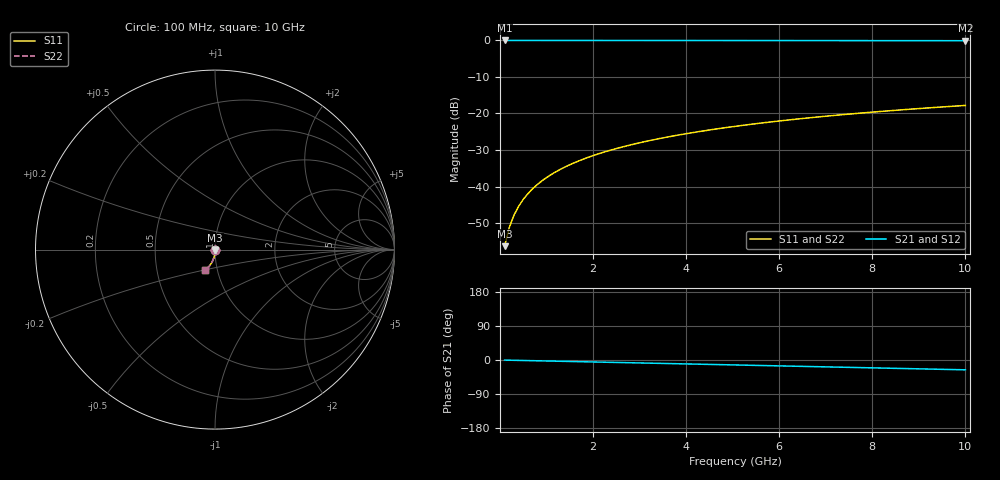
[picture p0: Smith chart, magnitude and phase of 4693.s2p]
# Hz S RI R 50.00
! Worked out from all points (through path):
!   100 points, 100 MHz to 10 GHz, reference 50 ohm
!   highest |S21| = -0.01 dB at 100 MHz (marker M1); lowest = -0.1 dB at 10 GHz (marker M2)
!   group delay of S21, straight-line fit = 7.21 ps
!   lowest |S11| = -56.3 dB at 100 MHz (marker M3), VSWR 1.00, Z = 50.1 - j0.133 ohm
!   |S11| at or under -10 dB: start of sweep to end of sweep
!   |S22| runs from -56.3 to -17.8 dB; largest |S21 - S12| = 0
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1e8  0.000757 -0.00133  0.9992 -0.0045  0.9992 -0.0045  0.000757 -0.00133
2e8  0.000742 -0.00265  0.9992 -0.009  0.9992 -0.009  0.000742 -0.00265
3e8  0.000713 -0.00398  0.9991 -0.0135  0.9991 -0.0135  0.000713 -0.00398
4e8  0.000671 -0.00531  0.999 -0.018  0.999 -0.018  0.000671 -0.00531
5e8  0.000617 -0.00664  0.9989 -0.0225  0.9989 -0.0225  0.000617 -0.00664
6e8  0.000551 -0.00796  0.9988 -0.027  0.9988 -0.027  0.000551 -0.00796
7e8  0.000473 -0.00929  0.9987 -0.0315  0.9987 -0.0315  0.000473 -0.00929
8e8  0.000383 -0.0106  0.9985 -0.036  0.9985 -0.036  0.000383 -0.0106
9e8  0.00028 -0.0119  0.9983 -0.0405  0.9983 -0.0405  0.00028 -0.0119
1.1e9  3.93e-05 -0.0146  0.9978 -0.0495  0.9978 -0.0495  3.93e-05 -0.0146
1.4e9  -0.000412 -0.0186  0.997 -0.063  0.997 -0.063  -0.000412 -0.0186
1.8e9  -0.00118 -0.0238  0.9956 -0.0809  0.9956 -0.0809  -0.00118 -0.0238
2.1e9  -0.00188 -0.0278  0.9943 -0.0944  0.9943 -0.0944  -0.00188 -0.0278
2.5e9  -0.00299 -0.033  0.9922 -0.1123  0.9922 -0.1123  -0.00299 -0.033
2.9e9  -0.00428 -0.0382  0.9898 -0.1302  0.9898 -0.1302  -0.00428 -0.0382
3.4e9  -0.00616 -0.0446  0.9864 -0.1525  0.9864 -0.1525  -0.00616 -0.0446
4.2e9  -0.00976 -0.0547  0.9796 -0.1879  0.9796 -0.1879  -0.00976 -0.0547
5.1e9  -0.0147 -0.0657  0.9704 -0.2275  0.9704 -0.2275  -0.0147 -0.0657
5.9e9  -0.0198 -0.0751  0.9608 -0.2623  0.9608 -0.2623  -0.0198 -0.0751
6.7e9  -0.0256 -0.0842  0.9498 -0.2968  0.9498 -0.2968  -0.0256 -0.0842
8.4e9  -0.04 -0.1018  0.922 -0.3683  0.922 -0.3683  -0.04 -0.1018
1e10  -0.0558 -0.1162  0.8907 -0.4332  0.8907 -0.4332  -0.0558 -0.1162
